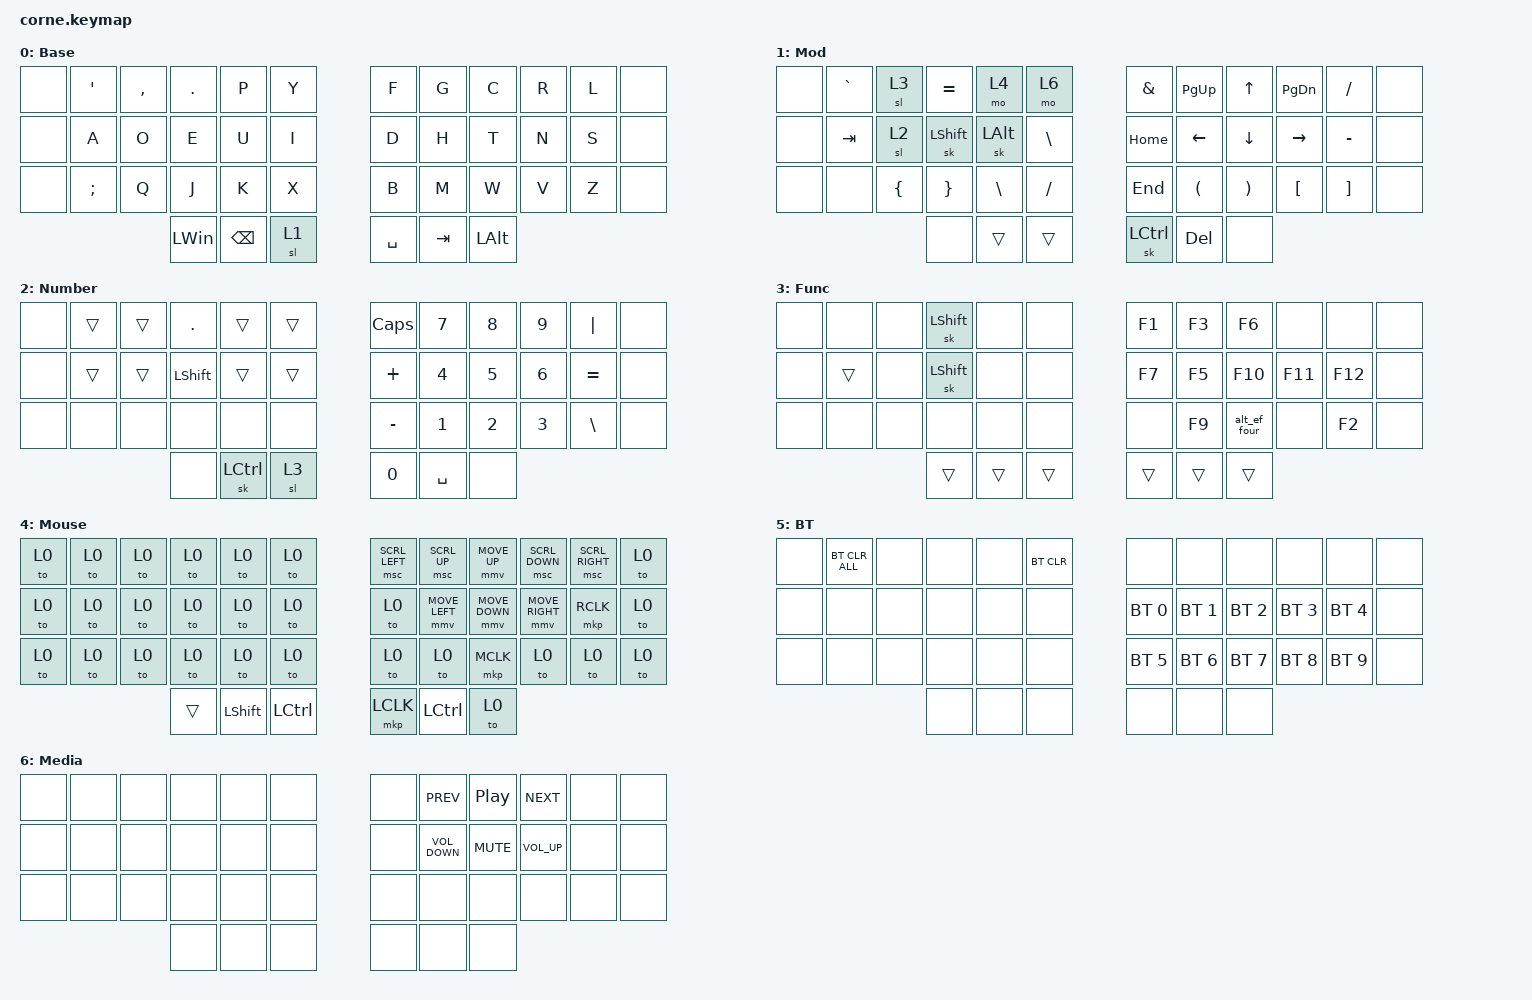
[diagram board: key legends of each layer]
/*
 * Copyright (c) 2020 The ZMK Contributors
 *
 * SPDX-License-Identifier: MIT
 */

#include <behaviors.dtsi>
#include <dt-bindings/zmk/keys.h>
#include <dt-bindings/zmk/bt.h>

#define ZMK_POINTING_DEFAULT_MOVE_VAL 1100  // default: 600
#define ZMK_POINTING_DEFAULT_SCRL_VAL 20    // default: 10
#include <dt-bindings/zmk/pointing.h>



/ {
    macros {
        alt_ef_four: alt_ef_four {
            compatible = "zmk,behavior-macro";
            #binding-cells = <0>;
            bindings
                = <&macro_press &kp LEFT_ALT>
                , <&macro_tap &kp F4>
                , <&macro_release &kp LEFT_ALT>
                ;
        };
    };
};

/ {
    combos {
        compatible = "zmk,combos";

        combo_shift {
            // timeout-ms = <50>;
            key-positions = <13 14>;
            bindings = <&sk LEFT_SHIFT>;
            layers = <0 1 2>;
            slow-release;
        };

        combo_shift2 { // right shift
            // timeout-ms = <50>;
            key-positions = <21 22>;
            bindings = <&sk LEFT_SHIFT>;
            layers = <0 1 2>;
            slow-release;
        };

        combo_numshift {
            timeout-ms = <50>;
            key-positions = <13 14>;
            bindings = <&kp LEFT_SHIFT>;
            layers = <2>;
            slow-release;
        };

        combo_control {
            timeout-ms = <50>;
            key-positions = <25 26>;
            bindings = <&sk LEFT_CONTROL>;
            layers = <0 4>;
            slow-release;
        };

        combo_escape {
            timeout-ms = <50>;
            key-positions = <1 2>;
            bindings = <&kp ESCAPE>;
            layers = <0 1 2>;
            slow-release;
        };

        combo_enter {
            timeout-ms = <50>;
            key-positions = <19 20 21>;
            bindings = <&kp ENTER>;
            layers = <0>;
        };

        combo_mouse_enter {
            timeout-ms = <50>;
            key-positions = <19 20 21 22>;
            bindings = <&to 4>;
            layers = <0>;
            slow-release;
        };

        combo_mouse_exit {
            timeout-ms = <50>;
            key-positions = <19 20 21 22>;
            bindings = <&to 0>;
            layers = <4>;
        };

        combo_bluetooth {
            timeout-ms = <50>;
            key-positions = <13 14 15 16>;
            bindings = <&mo 5>;
        };
    };
};

&sk {
    release-after-ms = <200>;
    quick-release;
    // /delete-property/ ignore-modifiers;
};

/ {
        keymap {
                compatible = "zmk,keymap";

                default_layer { // 0
// -----------------------------------------------------------------------------------------
// | 0    |  1  |  ,  |  .  |  P  |  Y  |   |  F  |  G   |  C  |  R  |  L  | none |
// | none |  13 |  O  |  E  |  U  |  I  |   |  D  |  H   |  T  |  N  |  S  | none |
// | none |  25 |  Q  |  J  |  K  |  X  |   |  B  |  M   |  W  |  V  |  Z  | none |
//                    | 36  | LWR | SPC |   | 39  | RSE  | ALT |
                         display-name = "Base";
                         bindings = <
   &none &kp SQT &kp COMMA &kp DOT &kp P   &kp Y   &kp F      &kp G     &kp C   &kp R   &kp L   &none
   &none &kp A   &kp O     &kp E   &kp U   &kp I   &kp D      &kp H     &kp T   &kp N   &kp S   &none
   &none &kp SEMI &kp Q    &kp J   &kp K   &kp X   &kp B      &kp M     &kp W   &kp V   &kp Z   &none
                  &kp LEFT_WIN &kp BSPC  &sl 1     &kp SPACE  &kp TAB   &kp LEFT_ALT
                        >;
                };


                mod_layer { // 1
// -----------------------------------------------------------------------------------------
// | none |  '  |  ,  |  .  |  P  |  Y  |   |  F  |  G   |  C  |  R  |  L  | none |
// | none |  A  |  O  |  E  |  U  |  I  |   |  D  |  H   |  T  |  N  |  S  | none |
// | none |  ;  |  Q  |  J  |  K  |  X  |   |  B  |  M   |  W  |  V  |  Z  | none |
//                    | GUI | LWR | SPC |   | ENT | RSE  | ALT |
                         display-name = "Mod";
//                         bindings = <
//    &none &kp GRAVE       &sl 3             &kp EQUAL         &mo 4           &sl 6                 &kp AMPERSAND  &kp PAGE_UP            &kp UP_ARROW            &kp PAGE_DOWN       &kp SLASH           &none
//    &none &kp TAB         &sl 2             &sk LEFT_SHIFT    &sk LEFT_ALT    &kp LEFT_CONTROL      &kp HOME       &kp LEFT_ARROW         &kp DOWN_ARROW          &kp RIGHT_ARROW     &kp MINUS           &none
//    &none &sk LEFT_CONTROL  &kp LEFT_BRACE    &kp RIGHT_BRACE   &kp BACKSLASH   &kp COLON             &kp END        &kp LEFT_PARENTHESIS   &kp RIGHT_PARENTHESIS   &kp LEFT_BRACKET    &kp RIGHT_BRACKET   &none
//                 &none    &trans    &trans                                                                &sk LEFT_CONTROL &kp DELETE &none

                         bindings = <
   &none        &kp GRAVE       &sl 3             &kp EQUAL       &mo 4           &mo 6                 &kp AMPERSAND  &kp PAGE_UP            &kp UP_ARROW            &kp PAGE_DOWN       &kp SLASH           &none
   &none        &kp TAB         &sl 2             &sk LEFT_SHIFT  &sk LEFT_ALT    &kp BACKSLASH         &kp HOME       &kp LEFT_ARROW         &kp DOWN_ARROW          &kp RIGHT_ARROW     &kp MINUS           &none
   &none &none  &kp LEFT_BRACE  &kp RIGHT_BRACE   &kp BACKSLASH   &kp SLASH                             &kp END        &kp LEFT_PARENTHESIS   &kp RIGHT_PARENTHESIS   &kp LEFT_BRACKET    &kp RIGHT_BRACKET   &none

                &none    &trans    &trans                                                                &sk LEFT_CONTROL &kp DELETE &none
                        >;
                };


                num_layer { // 2
// -----------------------------------------------------------------------------------------
// | none |  '  |  ,  |  .  |  P  |  Y  |   |  F  |  G   |  C  |  R  |  L  | none |
// | none |  A  |  O  |  E  |  U  |  I  |   |  D  |  H   |  T  |  N  |  S  | none |
// | none |  ;  |  Q  |  J  |  K  |  X  |   |  B  |  M   |  W  |  V  |  Z  | none |
//                    | GUI | LWR | SPC |   | ENT | RSE  | ALT |
                display-name = "Number";
                bindings = <
&none &trans &trans &kp DOT &trans &trans                       &kp CAPSLOCK    &kp NUMBER_7 &kp NUMBER_8 &kp NUMBER_9 &kp PIPE            &none
&none &trans &trans &kp LEFT_SHIFT &trans &trans                &kp PLUS        &kp NUMBER_4 &kp NUMBER_5 &kp NUMBER_6 &kp EQUAL           &none
&none &none &none &none &none &none                             &kp MINUS       &kp NUMBER_1 &kp NUMBER_2 &kp NUMBER_3 &kp BACKSLASH       &none
                                &none &sk LEFT_CONTROL &sl 3                       &kp NUMBER_0 &kp SPACE &none
                >;
        };


                function_layer { // 3
// -----------------------------------------------------------------------------------------
// | trans|  '  |  ,  |  .  |  P  |  Y  |   |  F  |  G   |  C  |  R  |  L  | none |
// | none |  A  |  O  |  E  |  U  |  I  |   |  D  |  H   |  T  |  N  |  S  | none |
// | none |  ;  |  Q  |  J  |  K  |  X  |   |  B  |  M   |  W  |  V  |  Z  | none |
//                    | GUI | LWR | SPC |   | ENT | RSE  | ALT |
                         display-name = "Func";
                         bindings = <
        &none &none &none &sk LEFT_SHIFT &none &none        &kp F1 &kp F3 &kp F6         &none   &none    &none
        &none &trans &none &sk LEFT_SHIFT &none &none       &kp F7 &kp F5 &kp F10        &kp F11 &kp F12  &none
        &none &none &none &none &none &none                 &none  &kp F9 &alt_ef_four   &none   &kp F2   &none
                        &trans &trans &trans                &trans &trans &trans
                        >;
                };

                mouse_layer { // 4
// -----------------------------------------------------------------------------------------
// | none |  '  |  ,  |  .  |  P  |  Y  |   |  F  |  G   |  C  |  R  |  L  | none |
// | none |  A  |  O  |  E  |  U  |  I  |   |  D  |  H   |  T  |  N  |  S  | none |
// | none |  ;  |  Q  |  J  |  K  |  X  |   |  B  |  M   |  W  |  V  |  Z  | none |
//                    | GUI | LWR | SPC |   | ENT | RSE  | ALT |
                         display-name = "Mouse";
                         bindings = <
        &to 0 &to 0 &to 0 &to 0 &to 0 &to 0             &msc SCRL_LEFT &msc SCRL_UP &mmv MOVE_UP &msc SCRL_DOWN &msc SCRL_RIGHT &to 0
        &to 0 &to 0 &to 0 &to 0 &to 0 &to 0             &to 0 &mmv MOVE_LEFT &mmv MOVE_DOWN &mmv MOVE_RIGHT &mkp RCLK &to 0
        &to 0 &to 0 &to 0 &to 0 &to 0 &to 0             &to 0 &to 0 &mkp MCLK &to 0 &to 0 &to 0
            &trans &kp LEFT_SHIFT &kp LEFT_CONTROL      &mkp LCLK &kp LEFT_CONTROL &to 0
                        >;
                };

                bt { // 5
// -----------------------------------------------------------------------------------------
// | none |  '  |  ,  |  .  |  P  |  Y  |   |  F  |  G   |  C  |  R  |  L  | none |
// | none |  A  |  O  |  E  |  U  |  I  |   |  D  |  H   |  T  |  N  |  S  | none |
// | none |  ;  |  Q  |  J  |  K  |  X  |   |  B  |  M   |  W  |  V  |  Z  | none |
//                    | GUI | LWR | SPC |   | ENT | RSE  | ALT |e
                         display-name = "BT";
                         bindings = <
        &none   &bt BT_CLR_ALL  &none &none &none &bt BT_CLR        &none &none &none &none &none &none
        &none   &none           &none &none &none &none             &bt BT_SEL 0 &bt BT_SEL 1 &bt BT_SEL 2 &bt BT_SEL 3 &bt BT_SEL 4 &none
        &none   &none           &none &none &none &none             &bt BT_SEL 5 &bt BT_SEL 6 &bt BT_SEL 7 &bt BT_SEL 8 &bt BT_SEL 9 &none
                &none &none &none                                       &none &none &none
                        >;
                };

                                media_layer { // 6
                         display-name = "Media";
                         bindings = <
        &none &none &none &none &none &none             &none &kp C_PREV &kp C_PLAY_PAUSE &kp C_NEXT &none &none
        &none &none &none &none &none &none             &none &kp C_VOLUME_DOWN &kp C_MUTE &kp C_VOLUME_UP &none &none
        &none &none &none &none &none &none             &none &none &none &none &none &none
                        &none &none &none               &none &none &none
                        >;
                };
        }; // end keymap
}; // end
